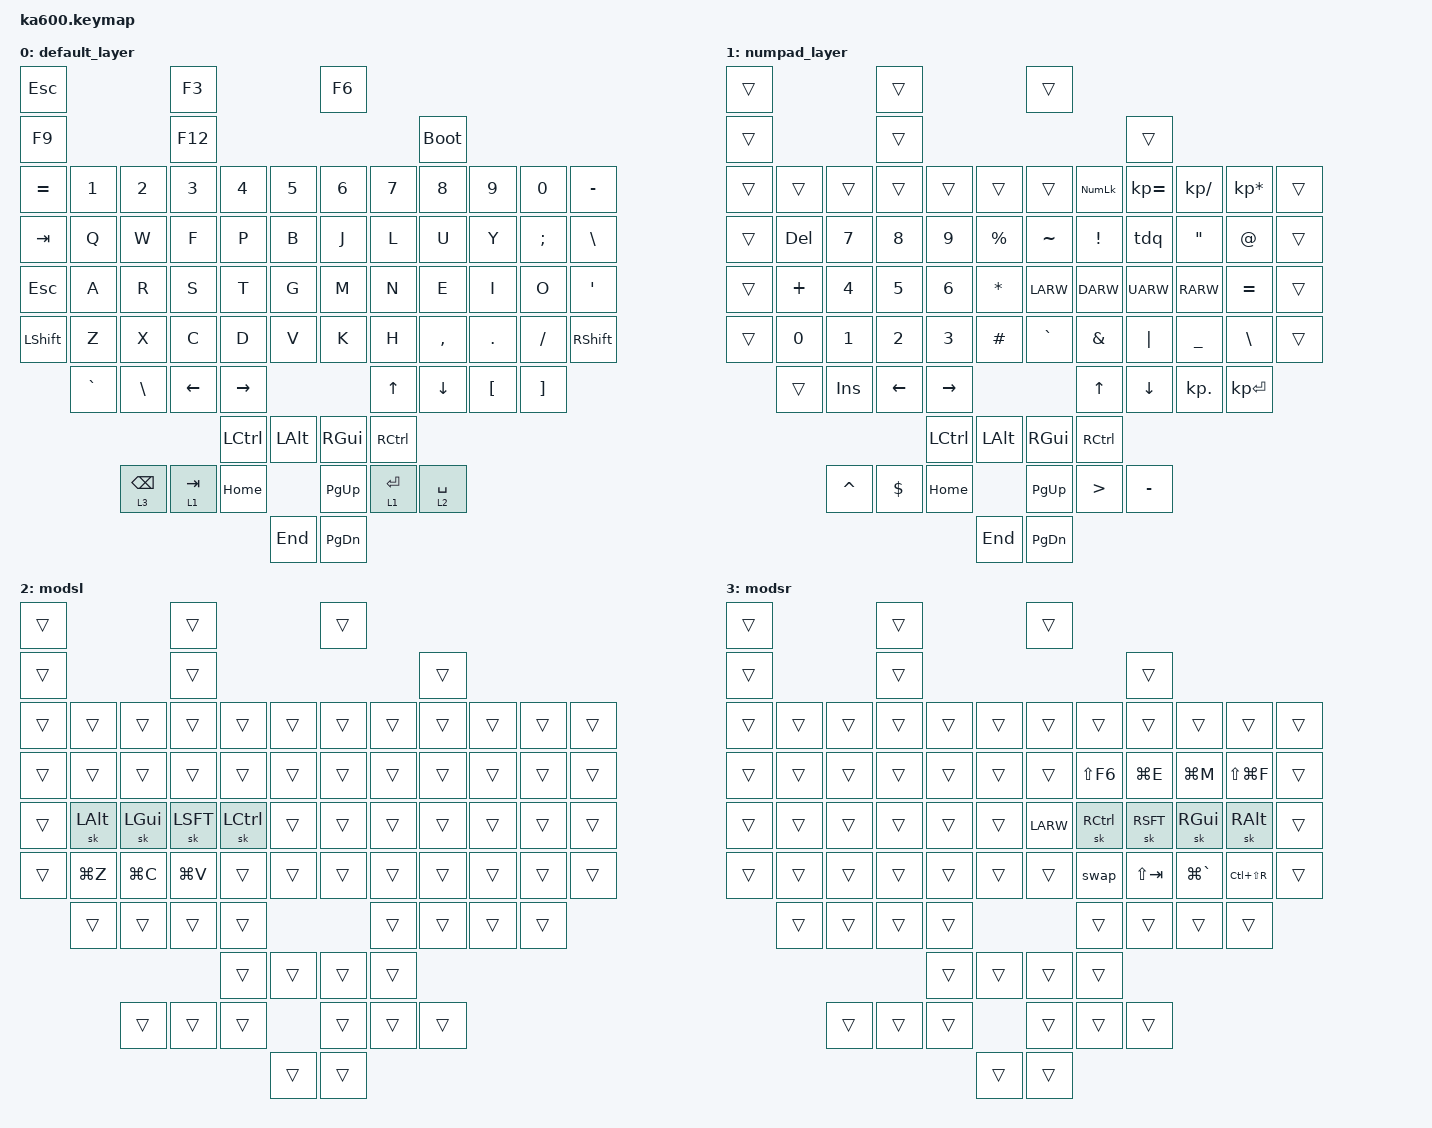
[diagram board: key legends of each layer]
/*
 * Copyright (c) 2021 The ZMK Contributors
 *
 * SPDX-License-Identifier: MIT
 */

#include <behaviors.dtsi>
#include <dt-bindings/zmk/keys.h>
#include <dt-bindings/zmk/bt.h>
#include <dt-bindings/zmk/outputs.h>

#define AS(keycode) &as LS(keycode) keycode
#define ASS(keycode) &ass LS(keycode) keycode

&sk {
    release-after-ms = <2500>;
};

&lt { 
    flavor = "hold-preferred";
    quick-tap-ms = <250>;
};


/ {
    behaviors {
        swap: swap {
            compatible = "zmk,behavior-tri-state";
            label = "SWAPPER";
            #binding-cells = <0>;
            bindings = <&kt LGUI>, <&kp TAB>, <&kt LGUI>;
            ignored-key-positions = <27>;
        };
        tdq: tap_dance_0 {
            compatible = "zmk,behavior-tap-dance";
            label = "TAP_DANCE_0";
            #binding-cells = <0>;
            tapping-term-ms = <300>;
            bindings = <&kp SQT>, <&kp DQT>;
        };
        as: auto_shift {
            compatible = "zmk,behavior-hold-tap";
            label = "AUTO_SHIFT";
            #binding-cells = <2>;
            tapping_term_ms = <250>;
            quick_tap_ms = <0>;
            flavor = "tap-preferred";
            bindings = <&kp>, <&kp>;
        };
        ass: auto_shift_slow {
            compatible = "zmk,behavior-hold-tap";
            label = "AUTO_SHIFT";
            #binding-cells = <2>;
            tapping_term_ms = <350>;
            quick_tap_ms = <0>;
            flavor = "tap-preferred";
            bindings = <&kp>, <&kp>;
        };
        combos {
            compatible = "zmk,combos";
            // symbols
            c_LBRC {
                timeout-ms = <50>;
                key-positions = <56 44>;
                bindings = <&kp LBRC>;
            };
            c_RBRC {
                timeout-ms = <50>;
                key-positions = <38 26>;
                bindings = <&kp RBRC>;
            };
            c_LPAR {
                timeout-ms = <50>;
                key-positions = <39 51>;
                bindings = <&kp LPAR>;
            };
            c_RPAR {
                timeout-ms = <50>;
                key-positions = <39 27>;
                bindings = <&kp RPAR>;
            };
            c_LBKT {
                timeout-ms = <50>;
                key-positions = <49 37>;
                bindings = <&kp LBKT>;
            };
            c_RBKT {
                timeout-ms = <50>;
                key-positions = <37 25>;
                bindings = <&kp RBKT>;
            };
            c_LT {
                timeout-ms = <100>;
                key-positions = <40 52>;
                bindings = <&kp LT>;
            };
            c_GT {
                timeout-ms = <100>;
                key-positions = <28 40>;
                bindings = <&kp GT>;
            };
            // common shortcuts
            c_AGL {
                timeout-ms = <70>;
                key-positions = <20 32>;
                bindings = <&kp LA(LG(LARW))>;
            };
            c_AGR {
                timeout-ms = <70>;
                key-positions = <21 33>;
                bindings = <&kp LA(LG(RARW))>;
            };
            c_GBL {
                timeout-ms = <70>;
                key-positions = <32 44>;
                bindings = <&kp LG(LBKT)>;
            };
            c_GBR {
                timeout-ms = <70>;
                key-positions = <33 45>;
                bindings = <&kp LG(RBKT)>;
            };
            // misc
            c_esc {
                timeout-ms = <50>;
                key-positions = <21 22>;
                bindings = <&kp ESCAPE>;
            };
            c_CAPSWORD {
                timeout-ms = <50>;
                key-positions = <50 45>;
                bindings = <&caps_word>;
            };
            c_CAPSLOCK {
                timeout-ms = <50>;
                key-positions = <49 46>;
                bindings = <&kp CAPSLOCK>;
            };
            c_T {
                timeout-ms = <50>;
                key-positions = <45 46>;
                bindings = <&kp B>;
            };
            c_Y {
                timeout-ms = <50>;
                key-positions = <25 26>;
                bindings = <&kp J>;
            };
            c_B {
                timeout-ms = <50>;
                key-positions = <21 22>;
                bindings = <&kp V>;
            };
            c_N {
                timeout-ms = <50>;
                key-positions = <49 50>;
                bindings = <&kp K>;
            };
        };
    };

    keymap0: keymap {
        compatible = "zmk,keymap";

//   0 ESC   1 F1    /*dead*/   2 F3    3 F4    /*dead*/    4 F6   5 F7   /*dead*/    
//                                                                    6 F9   7 F10  /*dead*/   8 F12  9 PSCRN /*dead*/ 10 PAUSE_BREAK /*dead*/ 11 ?
//   12 EQUAL  13 N1     14 N2    15 N3     16 N4     17 N5           18 N6    19 N7    20 N8     21 N9    22 N0    23 MINUS                                                             
//   24 TAB    25 Q      26 W     27 F      28 P      29 G            30 J     31 L     32 U      33 Y     34 SEMI  35 BSLH                                                              
//   36 CLCK   37 A      38 R     39 S      40 T      41 D            42 H     43 N     44 E      45 I     46 O     47 SQT                                                               
//   48 LSHFT  49 Z      50 X     51 C      52 V      53 B            54 K     55 M     56 COMMA  57 DOT   58 FSLH  59 RSHFT                                                             
//             60 GRAVE  61 BSLH  62 LEFT   63 RIGHT                           64 UP    65 DOWN   66 LBKT  67 RBKT                                                                                                  
//                                          68 LCTRL  69 LALT         70 RGUI  71 RCTRL                                                                                                                                        
//                                72 BSPC   73 DEL    74 HOME         75 PG_UP 76 ENTER  77 SPACE                                                                                                                    
//                                                    78 END          79 PG_DN    

default_layer {
 bindings = <
  &kp ESC   /*dead*/   /*dead*/   &kp F3    /*dead*/      /*dead*/    &kp F6     /*dead*/   /*dead*/    
  &kp F9    /*dead*/  /*dead*/   &kp F12   /*dead*/ /*dead*/   /*dead*/ /*dead*/  &bootloader

  &kp EQUAL  &kp N1    &kp N2   &kp N3    &kp N4    &kp N5          &kp N6   &kp N7   &kp N8    &kp N9   &kp N0   &kp MINUS                                                             
  &kp TAB    &kp Q     &kp W    &kp F     &kp P     &kp B           &kp J    &kp L    &kp U     &kp Y    &kp SEMI &kp BSLH                                                              
  &kp ESC    &kp A     &kp R    &kp S     &kp T     &kp G           &kp M    &kp N    &kp E     &kp I    &kp O    &kp SQT                                                               
  &kp LSHFT  &kp Z     &kp X    &kp C     &kp D     &kp V           &kp K    &kp H    &kp COMMA &kp DOT  &kp FSLH &kp RSHFT                                                             
             &kp GRAVE &kp BSLH &kp LEFT  &kp RIGHT                          &kp UP   &kp DOWN  &kp LBKT &kp RBKT  

                                       &kp LCTRL   &kp LALT         &kp RGUI   &kp RCTRL                                                                                                                                        
                          &lt 3 BKSP   &lt 1 TAB   &kp HOME         &kp PG_UP  &lt 1 RET  &lt 2 SPACE                                                                                                                   
                                                   &kp END          &kp PG_DN                                                                                                                                                            
 >;
};

numpad_layer {
 bindings = <
  &trans   &trans    /*dead*/   &trans   &trans   /*dead*/    &trans   &trans     /*dead*/    
                                                                
  &trans  &trans      &trans      &trans       &trans      &trans            &trans     &kp KP_NUM  &kp KP_EQUAL &kp KP_SLASH  &kp KP_MULTIPLY &trans                                                             
  &trans  &kp DEL     &kp N7      &kp N8       &kp N9      &kp PRCNT         &kp TILDE  &kp EXCL    &tdq         &kp DQT       &kp AT          &trans                                                    
  &trans  &kp PLUS    &kp N4      &kp N5       &kp N6      &kp STAR          &kp LARW   &kp DARW    &kp UARW     &kp RARW      &kp EQUAL       &trans                                                          
  &trans  &kp N0      &kp N1      &kp N2       &kp N3      &kp HASH          &kp GRAVE  &kp AMPS    &kp PIPE     &kp UNDER     &kp BSLH        &trans                                                             
          &trans      &kp INS    &kp LEFT      &kp RIGHT                                &kp UP      &kp DOWN     &kp KP_DOT    &kp KP_ENTER  

                                   &kp LCTRL  &kp LALT        &kp RGUI    &kp RCTRL                                                                                                                                        
                        &kp CARET  &kp DLLR   &kp HOME        &kp PG_UP   &kp GT     &kp MINUS                                                                                                                  
                                              &kp END         &kp PG_DN                                                                                                                                                           
 >;
};   

modsl {
 bindings = <
  &trans   &trans    /*dead*/   &trans   &trans   /*dead*/    &trans   &trans     /*dead*/    

  &trans  &trans      &trans     &trans       &trans       &trans            &trans     &trans      &trans       &trans        &trans     &trans                                                             
  &trans  &trans      &trans     &trans       &trans       &trans            &trans     &trans      &trans       &trans        &trans     &trans                                                    
  &trans  &sk LALT    &sk LGUI   &sk LSFT     &sk LCTL     &trans            &trans     &trans      &trans       &trans        &trans     &trans                                                         
  &trans  &kp LG(Z)   &kp LG(C)  &kp LG(V)    &trans       &trans            &trans     &trans      &trans       &trans        &trans     &trans                                                            
          &trans     &trans     &trans        &trans                                    &trans      &trans       &trans        &trans    

                                 &trans       &trans                                   &trans      &trans                                                                                                                                   
                      &trans     &trans       &trans                                   &trans      &trans       &trans                                                                                                       
                                              &trans                                   &trans                                                                                                                                                              
 >;
};  

modsr {
 bindings = <
  &trans   &trans    /*dead*/   &trans   &trans   /*dead*/    &trans   &trans     /*dead*/    

  &trans  &trans      &trans     &trans       &trans       &trans           &trans     &trans      &trans       &trans        &trans        &trans                                                              
  &trans  &trans      &trans     &trans       &trans       &trans           &trans     &kp LS(F6)  &kp LG(E)    &kp LG(M)     &kp LS(LG(F)) &trans                                                    
  &trans  &trans      &trans     &trans       &trans       &trans           &kp LARW   &sk RCTL    &sk RSFT     &sk RGUI      &sk RALT      &trans                                                          
  &trans  &trans      &trans     &trans       &trans       &trans           &trans     &swap       &kp LS(TAB)  &kp LG(GRAVE) &kp LC(LS(R)) &trans                                                            
          &trans      &trans     &trans       &trans                                   &trans      &trans       &trans        &trans  

                                 &trans       &trans                                   &trans      &trans                                                                                                                                   
                      &trans     &trans       &trans                                   &trans      &trans       &trans                                                                                                       
                                              &trans                                   &trans                                                                                                                                                                
 >;
};  

};
};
